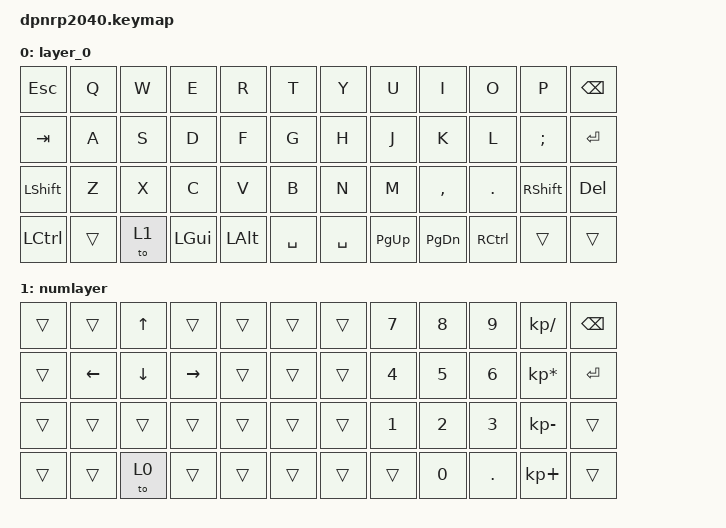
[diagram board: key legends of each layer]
#include <behaviors.dtsi>
#include <dt-bindings/zmk/keys.h>

#define LAYER 0
#define NUMLAYER 1
/ {
    keymap {
        compatible = "zmk,keymap";

        layer_0 {
            bindings = <
&kp ESC    &kp Q   &kp W  &kp E     &kp R     &kp T      &kp Y      &kp U      &kp I          &kp O      &kp P      &kp BSPC
&kp TAB    &kp A   &kp S  &kp D     &kp F     &kp G      &kp H      &kp J      &kp K          &kp L      &kp SEMI   &kp ENTER
&kp LSHFT  &kp Z   &kp X  &kp C     &kp V     &kp B      &kp N      &kp M      &kp COMMA      &kp DOT    &kp RSHFT  &kp DEL
&kp LCTRL  &trans  &to 1  &kp LGUI  &kp LALT  &kp SPACE  &kp SPACE  &kp PG_UP  &kp PAGE_DOWN  &kp RCTRL  &trans     &trans
            >;
        };

        numlayer {
            bindings = <
&trans  &trans          &kp UP_ARROW    &trans           &trans  &trans  &trans  &kp N7  &kp N8  &kp N9   &kp KP_DIVIDE    &kp BSPC
&trans  &kp LEFT_ARROW  &kp DOWN_ARROW  &kp RIGHT_ARROW  &trans  &trans  &trans  &kp N4  &kp N5  &kp N6   &kp KP_MULTIPLY  &kp ENTER
&trans  &trans          &trans          &trans           &trans  &trans  &trans  &kp N1  &kp N2  &kp N3   &kp KP_MINUS     &trans
&trans  &trans          &to 0           &trans           &trans  &trans  &trans  &trans  &kp N0  &kp DOT  &kp KP_PLUS      &trans
            >;
        };
    };
};
